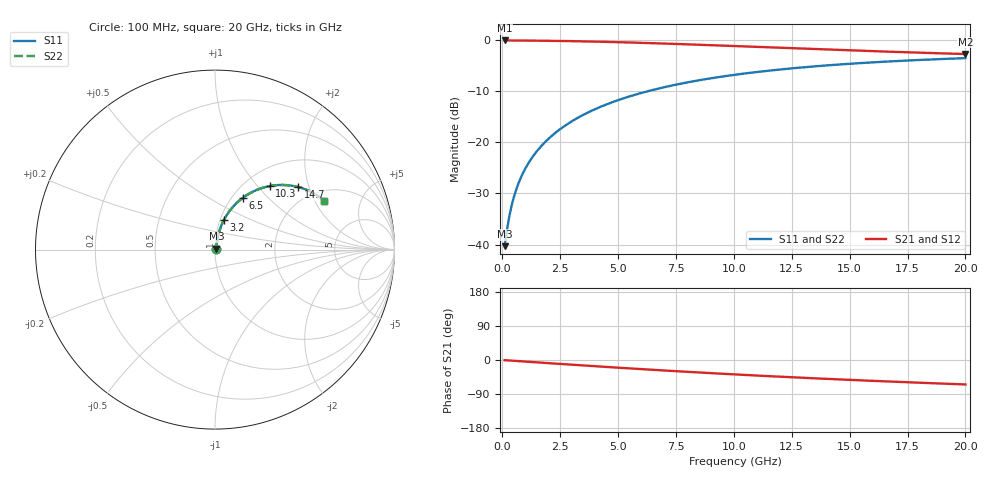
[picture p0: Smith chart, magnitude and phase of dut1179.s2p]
! Touchstone file exported from HFSS 2026.1.0
!  File:  C:/ffzhzh/LocalFiles/Ansys_Project_Files/temp_train_TMRDL_1179_1783162606_55132.aedt
!  Generated:  06:58:14 PM Jul  4, 2026
!  Design:  TMRDL
!  Project:  temp_train_TMRDL_1179_1783162606_55132
! Variables:
!  h_bsmrdl = 2um
!  h_ox = 20um
!  h_rdl = 5um
!  h_sub = 80um
!  h_tmrdl = 3.19um
!  h_tsv = 80um
!  h_via = 3um
!  l_bsmrdl = 300um
!  l_sub = 1334.95um
!  l_tmrdl = 934.95um
!  m_sub = 200um
!  pitch = 59.49um
!  r_tsv = 6um
!  s_tmrdl = 10um
!  w_bsmrdl = 18um
!  w_sub = 500um
!  w_tmrdl = 13.21um
!  x_tsv_center1 = 941.555um
!  x_tsv_center2 = 1259.555um
!  x_tsv_center3 = 2207.715um
!  x_tsv_center4 = 2525.715um
!  x_tsv_center5 = 3473.875um
!  x_tsv_center6 = 3791.875um
# GHz S MA R 50.000000
! Terminal data exported
! Port[1] = TM_RDL1_1_T1
! Port[2] = TM_RDL1_1_T2
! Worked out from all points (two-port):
!   200 points, 100 MHz to 20 GHz, reference 50 ohm
!   highest |S21| = -0.07 dB at 100 MHz (marker M1); lowest = -2.7 dB at 20 GHz (marker M2)
!   |S21| within 3 dB of the highest: start of sweep to end of sweep
!   lowest |S11| = -40.3 dB at 100 MHz (marker M3), VSWR 1.02, Z = 50.8 + j0.571 ohm
!   |S11| at or under -10 dB: start of sweep to 6.28 GHz
!   |S22| runs from -40.3 to -3.5 dB; largest |S21 - S12| = 4.1e-15
!   S11 on the Smith chart (normalised r, x): 100 MHz: 1.02, +0.01; 3.2 GHz: 1.04, +0.35; 6.5 GHz: 1.12, +0.72; 10.3 GHz: 1.28, +1.16; 14.7 GHz: 1.63, +1.71; 20 GHz: 2.43, +2.39
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0.1  0.009657 35.6  0.9922 -0.4  0.9922 -0.4  0.009657 35.6
! Gamma 0 0 0 0
! Port Impedance 50 0 50 0
0.2  0.01381 54.2  0.992 -0.9  0.992 -0.9  0.01381 54.2
0.3  0.01873 63.2  0.9918 -1.3  0.9918 -1.3  0.01873 63.2
0.4  0.0239 68.2  0.9915 -1.7  0.9915 -1.7  0.0239 68.2
0.5  0.02916 71.2  0.9912 -2.1  0.9912 -2.1  0.02916 71.2
0.7  0.03976 74.5  0.9906 -3.0  0.9906 -3.0  0.03976 74.5
1  0.05569 76.5  0.9895 -4.2  0.9895 -4.2  0.05569 76.5
1.4  0.07693 77.2  0.9878 -5.9  0.9878 -5.9  0.07693 77.2
1.9  0.1034 76.8  0.9852 -7.9  0.9852 -7.9  0.1034 76.8
2.5  0.1348 75.4  0.9811 -10.4  0.9811 -10.4  0.1348 75.4
3.2  0.1708 73.4  0.9751 -13.2  0.9751 -13.2  0.1708 73.4
3.5  0.186 72.4  0.9722 -14.4  0.9722 -14.4  0.186 72.4
4.9  0.254 67.5  0.956 -19.9  0.956 -19.9  0.254 67.5
6.5  0.3257 61.9  0.9332 -25.9  0.9332 -25.9  0.3257 61.9
6.8  0.3383 60.9  0.9285 -27.0  0.9285 -27.0  0.3383 60.9
8.3  0.3975 55.8  0.9042 -32.3  0.9042 -32.3  0.3975 55.8
10.1  0.4599 50.0  0.8736 -38.2  0.8736 -38.2  0.4599 50.0
10.3  0.4662 49.4  0.8702 -38.9  0.8702 -38.9  0.4662 49.3
13.4  0.5516 40.3  0.8188 -48.1  0.8188 -48.1  0.5516 40.3
14.7  0.5806 36.8  0.7987 -51.7  0.7987 -51.7  0.5806 36.8
16.7  0.6185 31.8  0.7703 -56.8  0.7703 -56.8  0.6185 31.8
20  0.666 24.2  0.7308 -64.5  0.7308 -64.5  0.666 24.2
